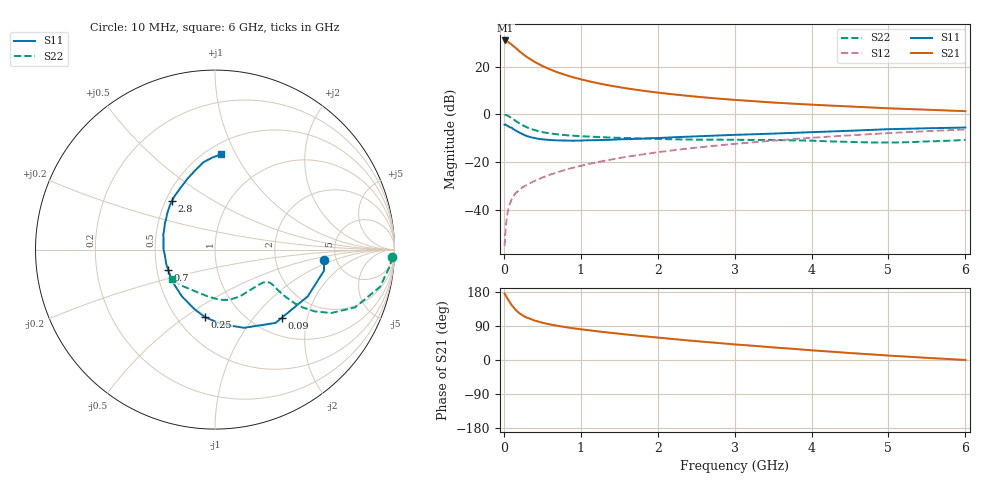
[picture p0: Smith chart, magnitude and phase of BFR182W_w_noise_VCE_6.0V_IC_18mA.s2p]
! Infineon Technologies  Discrete & RF Semiconductors
! BFR182W
! VCE =  6.0 V,  IC =  18 mA
! Common Emitter S-Parameters:  Jan 2017
# GHz  S  MA  R  50
!  f  S11  S21  S12  S22
! GHz  MAG  ANG  MAG  ANG  MAG  ANG  MAG  ANG
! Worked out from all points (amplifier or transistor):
!   77 points, 10 MHz to 6 GHz, reference 50 ohm
!   highest |S21| = 31.1 dB at 20 MHz (marker M1)
!   |S21| within 3 dB of that: start of sweep to 148.5 MHz
!   unconditionally stable (mu >= 1): 874.4 MHz to 2.392 GHz
!   at 130 MHz: K = 0.39, MSG = 31.4 dB, |S12| = -34.2 dB
!   at 2.2 GHz: K = 1.01, MAG = 11.2 dB, |S12| = -15.1 dB
!   at 6 GHz: K = 0.87, MSG = 3.8 dB, |S12| = -6.3 dB
!   lowest NFmin = 1.34 dB at 450 MHz
!   S11 on the Smith chart (normalised r, x): 10 MHz: 3.99, -0.73; 90 MHz: 1.33, -1.41; 250 MHz: 0.68, -0.60; 700 MHz: 0.57, -0.14; 2.8 GHz: 0.54, +0.34; 6 GHz: 0.59, +0.87
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0.01  0.61 -5.4  35.89 175.5  0.0017 82.9  0.9882 -2.4
0.02  0.6187 -11.0  35.97 171.9  0.0032 97.7  0.9793 -5.3
0.05  0.5786 -26.8  34.03 160.8  0.0089 77.2  0.9426 -12.7
0.09  0.5318 -45.5  30.43 148.5  0.0148 73.4  0.8618 -20.3
0.1  0.5297 -50.5  29.78 145.0  0.0163 72.9  0.8442 -22.4
0.15  0.4646 -69.7  25.35 132.8  0.0219 67.0  0.7381 -28.6
0.2  0.4165 -85.2  21.53 123.8  0.0257 65.4  0.6527 -31.8
0.25  0.381 -98.2  18.54 116.8  0.03 64.2  0.5857 -33.4
0.3  0.3509 -109.0  16.1 111.7  0.033 63.7  0.5346 -34.0
0.4  0.3191 -125.3  12.74 103.9  0.04 65.4  0.4677 -33.7
0.5  0.2999 -138.4  10.45 98.4  0.0471 66.5  0.4261 -33.0
0.6  0.2901 -148.7  8.867 93.9  0.0542 67.6  0.3995 -32.1
0.7  0.2844 -156.6  7.676 90.2  0.0608 68.6  0.3808 -31.5
0.9  0.2806 -170.1  6.051 83.8  0.0758 69.4  0.3572 -31.2
1.1  0.2868 179.3  5.017 78.7  0.0909 70.0  0.3429 -31.7
1.5  0.3 164.0  3.746 69.4  0.1212 69.2  0.3224 -35.3
2.1  0.3249 146.4  2.765 57.3  0.1683 66.4  0.3029 -45.0
2.8  0.362 131.7  2.146 44.6  0.2241 61.8  0.2947 -59.8
3.1  0.3766 125.6  1.974 39.7  0.2482 59.5  0.2924 -66.0
4.1  0.4299 109.5  1.579 24.2  0.331 51.1  0.2766 -87.2
5.1  0.4944 96.5  1.329 10.5  0.4128 41.7  0.258 -117.9
6  0.532 86.4  1.172 0.0  0.483 32.7  0.2912 -145.2
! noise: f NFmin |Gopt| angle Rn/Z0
0.45  1.34  0.07  174  0.15
0.9  1.41  0.08  179  0.15
1.9  1.93  0.27  -144  0.15
2.4  2.18  0.27  -129  0.24
